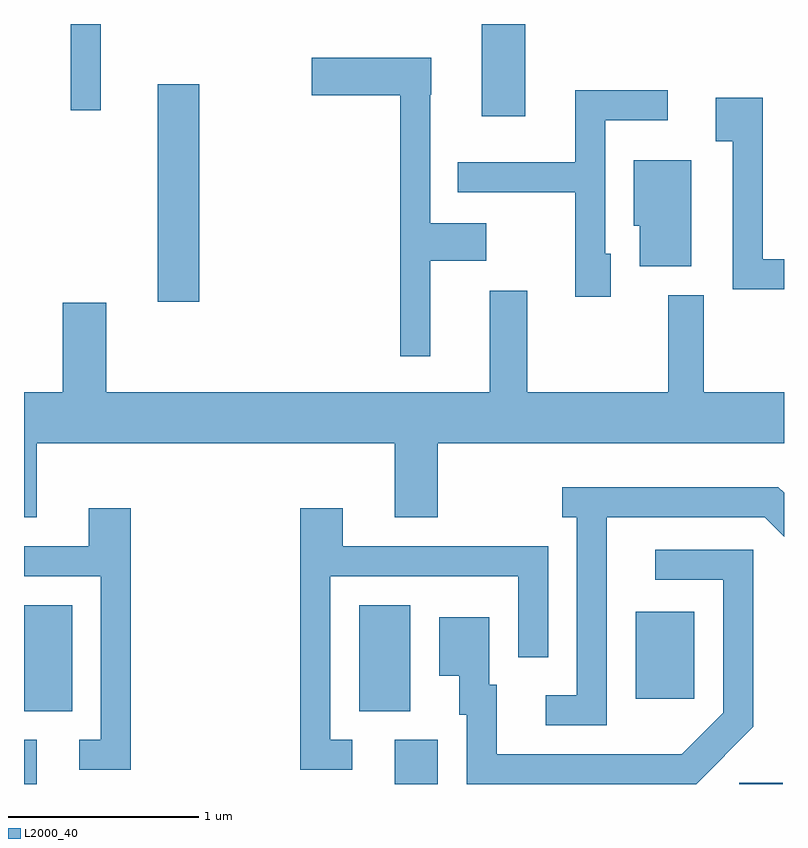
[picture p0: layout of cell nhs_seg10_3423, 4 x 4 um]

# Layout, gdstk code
import gdstk
lib = gdstk.Library(unit=1e-6, precision=1e-09)
def R(c, l, rs):  # rectangles x0, y0, x1, y1
    for r in rs: c.add(gdstk.rectangle(r[:2], r[2:], *l))
def P(c, l, *ps):  # polygons
    for p in ps: c.add(gdstk.Polygon(p, *l))
L2000_40 = (2000, 40)

nhs_seg10_3423 = lib.new_cell('nhs_seg10_3423')
R(nhs_seg10_3423, L2000_40, [(285.611,2156.522,285.679,2156.754), (287.561,2156.522,287.789,2156.754), (289.376,2156.522,289.604,2156.529), (285.611,2156.906,285.864,2157.464), (287.376,2156.906,287.644,2157.464), (288.831,2156.971,289.139,2157.429), (286.316,2159.061,286.534,2160.204), (288.021,2160.036,288.249,2160.522), (285.856,2160.068,286.014,2160.522)])
P(nhs_seg10_3423, L2000_40, [(287.749,2159.276),(288.044,2159.276),(288.044,2159.474),(287.749,2159.474),(287.749,2160.15),(287.754,2160.15),(287.754,2160.344),(287.126,2160.344),(287.126,2160.146),(287.591,2160.146),(287.591,2158.773),(287.749,2158.773)],
  [(288.699,2159.314),(288.669,2159.314),(288.669,2160.016),(288.998,2160.016),(288.998,2160.174),(288.511,2160.174),(288.511,2159.794),(287.893,2159.794),(287.893,2159.636),(288.511,2159.636),(288.511,2159.086),(288.699,2159.086)],
  [(289.611,2159.284),(289.499,2159.284),(289.499,2160.134),(289.251,2160.134),(289.251,2159.906),(289.341,2159.906),(289.341,2159.126),(289.611,2159.126)],
  [(289.124,2159.804),(288.821,2159.804),(288.821,2159.461),(288.851,2159.461),(288.851,2159.246),(289.124,2159.246)],
  [(285.679,2158.316),(287.561,2158.316),(287.561,2157.926),(287.789,2157.926),(287.789,2158.316),(289.611,2158.316),(289.611,2158.584),(289.189,2158.584),(289.189,2159.094),(289.001,2159.094),(289.001,2158.584),(288.259,2158.584),(288.259,2159.119),(288.061,2159.119),(288.061,2158.584),(286.044,2158.584),(286.044,2159.054),(285.816,2159.054),(285.816,2158.584),(285.611,2158.584),(285.611,2157.926),(285.679,2157.926)],
  [(288.679,2157.926),(289.509,2157.926),(289.611,2157.824),(289.611,2158.055),(289.582,2158.084),(288.443,2158.084),(288.443,2157.926),(288.521,2157.926),(288.521,2156.989),(288.358,2156.989),(288.358,2156.831),(288.679,2156.831)],
  [(287.338,2156.754),(287.224,2156.754),(287.224,2157.616),(288.211,2157.616),(288.211,2157.188),(288.369,2157.188),(288.369,2157.774),(287.289,2157.774),(287.289,2157.974),(287.066,2157.974),(287.066,2156.596),(287.338,2156.596)],
  [(286.174,2157.974),(285.951,2157.974),(285.951,2157.774),(285.611,2157.774),(285.611,2157.616),(286.016,2157.616),(286.016,2156.754),(285.903,2156.754),(285.903,2156.596),(286.174,2156.596)],
  [(289.449,2156.824),(289.449,2157.754),(288.933,2157.754),(288.933,2157.596),(289.291,2157.596),(289.291,2156.897),(289.074,2156.679),(288.099,2156.679),(288.099,2157.044),(288.059,2157.044),(288.059,2157.399),(287.796,2157.399),(287.796,2157.091),(287.901,2157.091),(287.901,2156.886),(287.941,2156.886),(287.941,2156.522),(289.148,2156.522)])

lib.write_gds('nhs_seg10_3423.gds')
